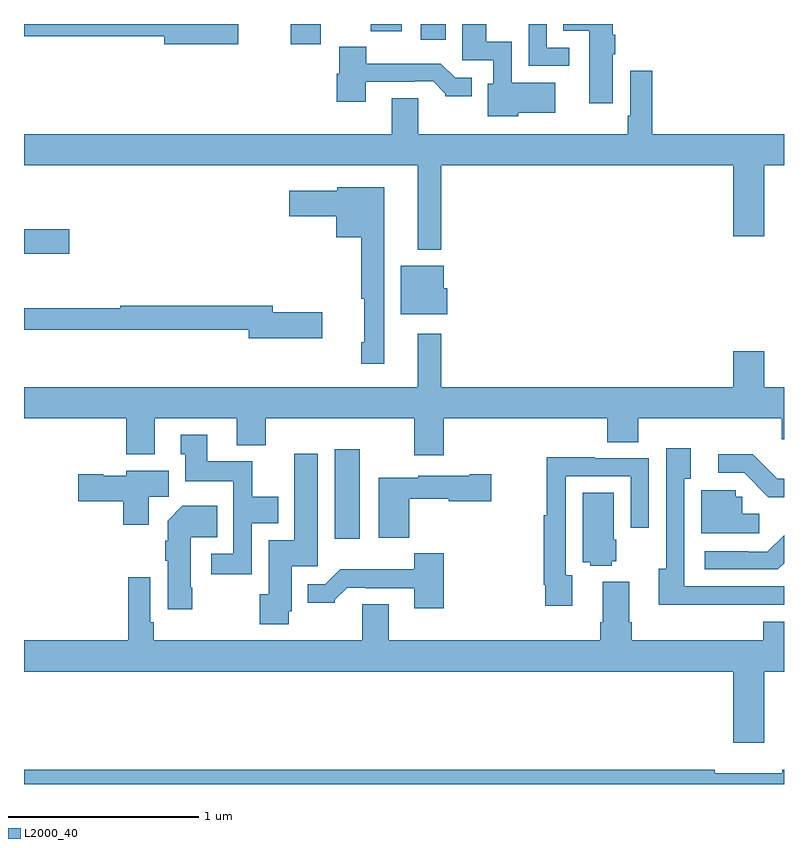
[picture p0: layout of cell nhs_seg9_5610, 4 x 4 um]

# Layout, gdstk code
import gdstk
lib = gdstk.Library(unit=1e-6, precision=1e-09)
def R(c, l, rs):  # rectangles x0, y0, x1, y1
    for r in rs: c.add(gdstk.rectangle(r[:2], r[2:], *l))
def P(c, l, *ps):  # polygons
    for p in ps: c.add(gdstk.Polygon(p, *l))
L2000_40 = (2000, 40)

nhs_seg9_5610 = lib.new_cell('nhs_seg9_5610')
R(nhs_seg9_5610, L2000_40, [(438.635,1191.792,438.766,1192.261), (437,1193.291,437.239,1193.421), (438.404,1194.393,438.562,1194.5), (439.088,1194.417,439.219,1194.5), (438.826,1194.461,438.988,1194.5)])
P(nhs_seg9_5610, L2000_40, [(439.602,1194.032),(439.795,1194.032),(439.795,1194.19),(439.566,1194.19),(439.566,1194.406),(439.432,1194.406),(439.432,1194.5),(439.307,1194.5),(439.307,1194.309),(439.47,1194.309),(439.47,1194.186),(439.442,1194.186),(439.442,1194.014),(439.602,1194.014)],
  [(439.87,1194.375),(439.752,1194.375),(439.752,1194.5),(439.656,1194.5),(439.656,1194.279),(439.87,1194.279)],
  [(440.098,1194.34),(440.111,1194.34),(440.111,1194.443),(440.098,1194.443),(440.098,1194.5),(439.837,1194.5),(439.837,1194.464),(439.976,1194.464),(439.976,1194.084),(440.098,1194.084)],
  [(438.127,1194.5),(437,1194.5),(437,1194.436),(437.738,1194.436),(437.738,1194.394),(438.127,1194.394)],
  [(438.799,1194.195),(439.055,1194.195),(439.055,1194.198),(439.154,1194.198),(439.218,1194.134),(439.218,1194.119),(439.357,1194.119),(439.357,1194.216),(439.269,1194.216),(439.193,1194.292),(438.802,1194.292),(438.802,1194.379),(438.659,1194.379),(438.659,1194.237),(438.647,1194.237),(438.647,1194.09),(438.799,1194.09)],
  [(439.195,1193.756),(440.732,1193.756),(440.732,1193.382),(440.896,1193.382),(440.896,1193.756),(441,1193.756),(441,1193.92),(440.306,1193.92),(440.306,1194.253),(440.19,1194.253),(440.19,1194.016),(440.178,1194.016),(440.178,1193.92),(439.075,1193.92),(439.075,1194.11),(438.935,1194.11),(438.935,1193.92),(437,1193.92),(437,1193.756),(439.073,1193.756),(439.073,1193.312),(439.195,1193.312)],
  [(438.895,1193.641),(438.648,1193.641),(438.648,1193.623),(438.396,1193.623),(438.396,1193.489),(438.644,1193.489),(438.644,1193.378),(438.774,1193.378),(438.774,1193.054),(438.791,1193.054),(438.791,1192.825),(438.774,1192.825),(438.774,1192.713),(438.895,1192.713)],
  [(439.228,1193.109),(439.21,1193.109),(439.21,1193.227),(438.983,1193.227),(438.983,1192.973),(439.228,1192.973)],
  [(438.571,1192.982),(438.31,1192.982),(438.31,1193.018),(437.506,1193.018),(437.506,1193.003),(437,1193.003),(437,1192.89),(438.182,1192.89),(438.182,1192.847),(438.571,1192.847)],
  [(439.208,1192.424),(440.069,1192.424),(440.069,1192.3),(440.234,1192.3),(440.234,1192.424),(440.987,1192.424),(440.987,1192.314),(441,1192.314),(441,1192.588),(440.896,1192.588),(440.896,1192.777),(440.732,1192.777),(440.732,1192.588),(439.195,1192.588),(439.195,1192.87),(439.073,1192.87),(439.073,1192.588),(437,1192.588),(437,1192.424),(437.537,1192.424),(437.537,1192.235),(437.689,1192.235),(437.689,1192.424),(438.119,1192.424),(438.119,1192.283),(438.272,1192.283),(438.272,1192.424),(439.055,1192.424),(439.055,1192.23),(439.208,1192.23)],
  [(438.198,1191.872),(438.337,1191.872),(438.337,1192.012),(438.201,1192.012),(438.201,1192.198),(437.965,1192.198),(437.965,1192.339),(437.825,1192.339),(437.825,1192.236),(437.849,1192.236),(437.849,1192.094),(438.102,1192.094),(438.102,1191.711),(437.985,1191.711),(437.985,1191.603),(438.198,1191.603)],
  [(440.807,1191.444),(441,1191.444),(441,1191.54),(440.475,1191.54),(440.475,1192.106),(440.509,1192.106),(440.509,1192.267),(440.379,1192.267),(440.379,1191.634),(440.342,1191.634),(440.342,1191.443),(440.807,1191.443)],
  [(438.393,1191.408),(438.409,1191.408),(438.409,1191.645),(438.547,1191.645),(438.547,1192.237),(438.422,1192.237),(438.422,1191.784),(438.287,1191.784),(438.287,1191.498),(438.241,1191.498),(438.241,1191.342),(438.393,1191.342)],
  [(441,1192.107),(440.964,1192.107),(440.836,1192.235),(440.655,1192.235),(440.655,1192.137),(440.79,1192.137),(440.917,1192.01),(441,1192.01)],
  [(439.885,1191.599),(439.851,1191.599),(439.851,1192.119),(440.193,1192.119),(440.193,1191.849),(440.289,1191.849),(440.289,1192.215),(440.005,1192.215),(440.005,1192.219),(439.75,1192.219),(439.75,1191.915),(439.735,1191.915),(439.735,1191.55),(439.743,1191.55),(439.743,1191.438),(439.885,1191.438)],
  [(437.656,1192.012),(437.761,1192.012),(437.761,1192.15),(437.538,1192.15),(437.538,1192.123),(437.418,1192.123),(437.418,1192.131),(437.286,1192.131),(437.286,1191.989),(437.522,1191.989),(437.522,1191.864),(437.656,1191.864)],
  [(439.028,1192.001),(439.236,1192.001),(439.236,1191.989),(439.459,1191.989),(439.459,1192.131),(439.346,1192.131),(439.346,1192.123),(439.074,1192.123),(439.074,1192.111),(438.866,1192.111),(438.866,1191.797),(439.028,1191.797)],
  [(440.869,1191.922),(440.781,1191.922),(440.781,1192.011),(440.745,1192.011),(440.745,1192.047),(440.564,1192.047),(440.564,1191.819),(440.869,1191.819)],
  [(440.094,1191.672),(440.116,1191.672),(440.116,1191.786),(440.104,1191.786),(440.104,1192.034),(439.94,1192.034),(439.94,1191.668),(439.98,1191.668),(439.98,1191.65),(440.094,1191.65)],
  [(437.886,1191.532),(437.878,1191.532),(437.878,1191.8),(438.017,1191.8),(438.017,1191.964),(437.834,1191.964),(437.756,1191.886),(437.756,1191.779),(437.744,1191.779),(437.744,1191.676),(437.756,1191.676),(437.756,1191.42),(437.886,1191.42)],
  [(441,1191.662),(441,1191.81),(440.913,1191.723),(440.813,1191.723),(440.813,1191.726),(440.583,1191.726),(440.583,1191.63),(440.968,1191.63)],
  [(439.208,1191.715),(439.053,1191.715),(439.053,1191.631),(438.664,1191.631),(438.585,1191.552),(438.494,1191.552),(438.494,1191.455),(438.636,1191.455),(438.636,1191.47),(438.7,1191.534),(438.799,1191.534),(438.799,1191.531),(439.055,1191.531),(439.055,1191.426),(439.208,1191.426)],
  [(440.896,1191.092),(441,1191.092),(441,1191.355),(440.891,1191.355),(440.891,1191.256),(440.198,1191.256),(440.198,1191.352),(440.185,1191.352),(440.185,1191.565),(440.045,1191.565),(440.045,1191.352),(440.033,1191.352),(440.033,1191.256),(438.919,1191.256),(438.919,1191.446),(438.779,1191.446),(438.779,1191.256),(437.684,1191.256),(437.684,1191.352),(437.664,1191.352),(437.664,1191.589),(437.548,1191.589),(437.548,1191.256),(437,1191.256),(437,1191.092),(440.732,1191.092),(440.732,1190.718),(440.896,1190.718)],
  [(441,1190.576),(440.992,1190.576),(440.992,1190.557),(440.636,1190.557),(440.636,1190.576),(437,1190.576),(437,1190.5),(441,1190.5)])

lib.write_gds('nhs_seg9_5610.gds')
